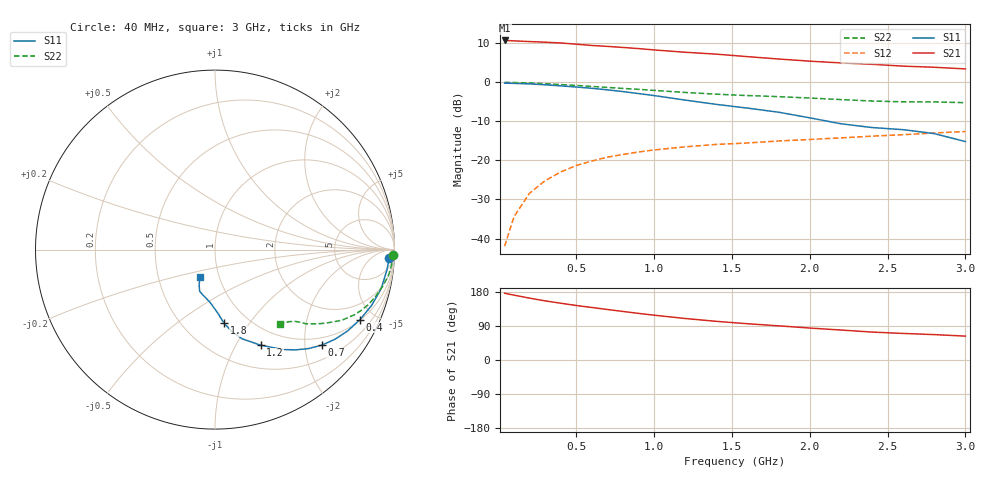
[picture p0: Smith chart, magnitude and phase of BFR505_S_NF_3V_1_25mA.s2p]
! Filename:  BFR505B.S2P  Version:  3.0
! Philips part #: BFR505  Date: Feb 1992
! Bias condition: Vce=3V, Ic=1.25mA
#  MHz  S  MA  R  50
! Freq  S11  S21  S12  S22  !GUM [dB]
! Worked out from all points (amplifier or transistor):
!   21 points, 40 MHz to 3 GHz, reference 50 ohm
!   highest |S21| = 10.7 dB at 40 MHz (marker M1)
!   |S21| within 3 dB of that: start of sweep to 1.194 GHz
!   unconditionally stable (mu >= 1): 2.134 GHz to end of sweep
!   at 300 MHz: K = 0.21, MSG = 17.7 dB, |S12| = -25.2 dB
!   at 1 GHz: K = 0.53, MSG = 12.8 dB, |S12| = -17.3 dB
!   at 3 GHz: K = 1.12, MAG = 5.9 dB, |S12| = -12.6 dB
!   lowest NFmin = 1.20 dB at 900 MHz
!   S11 on the Smith chart (normalised r, x): 40 MHz: 19, -31; 400 MHz: 1.03, -4.12; 700 MHz: 0.81, -2.37; 1.2 GHz: 0.78, -1.27; 1.8 GHz: 0.78, -0.77; 3 GHz: 0.81, -0.25
40  0.971 -2.7  3.415 176.1  0.008 87.8  0.993 -1.8
100  0.965 -6.6  3.375 171.2  0.019 85.2  0.99 -4.2
200  0.951 -13.3  3.305 163.3  0.038 80.3  0.977 -8.6
300  0.926 -19.7  3.244 156.0  0.055 76.4  0.955 -12.6
400  0.897 -25.8  3.173 149.9  0.071 73.0  0.932 -16.2
500  0.867 -31.5  3.059 143.8  0.086 69.8  0.909 -19.6
600  0.835 -36.7  2.947 138.6  0.098 67.0  0.882 -22.6
700  0.798 -41.9  2.868 133.3  0.11 64.8  0.857 -25.1
800  0.758 -46.7  2.78 128.1  0.119 62.8  0.832 -27.1
900  0.715 -51.4  2.688 123.0  0.128 61.0  0.81 -29.0
1000  0.674 -55.7  2.584 118.3  0.136 59.4  0.785 -30.6
1200  0.59 -64.5  2.413 109.5  0.149 56.9  0.739 -33.7
1400  0.52 -73.0  2.282 102.0  0.16 55.7  0.702 -36.1
1600  0.466 -78.4  2.121 95.7  0.167 55.0  0.674 -37.8
1800  0.413 -83.0  1.978 90.2  0.177 55.5  0.653 -39.3
2000  0.35 -87.9  1.856 84.3  0.185 55.2  0.627 -40.2
2200  0.294 -95.6  1.763 79.1  0.194 55.3  0.599 -41.9
2400  0.263 -104.5  1.692 73.7  0.204 55.4  0.574 -44.4
2600  0.247 -110.3  1.604 70.1  0.213 56.3  0.561 -46.8
2800  0.22 -113.6  1.551 67.0  0.224 57.7  0.559 -48.3
3000  0.174 -119.3  1.478 63.0  0.234 58.4  0.547 -48.9
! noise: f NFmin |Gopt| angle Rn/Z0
900  1.2  0.67  17  0.86
2000  1.9  0.56  51  0.55
